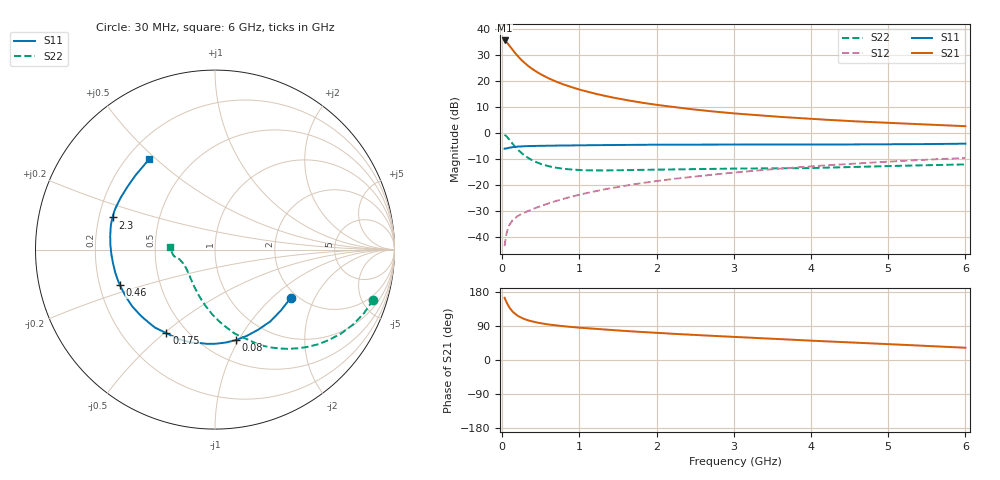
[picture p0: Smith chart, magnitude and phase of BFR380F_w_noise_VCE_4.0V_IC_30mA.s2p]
! Infineon Technologies  Discrete & RF Semiconductors
! BFR380F
! VCE =  4.0 V,  IC =  30 mA
! Common Emitter S-Parameters:  Nov 2015
# GHz  S  MA  R  50
!  f  S11  S21  S12  S22
! GHz  MAG  ANG  MAG  ANG  MAG  ANG  MAG  ANG
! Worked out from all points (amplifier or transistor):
!   206 points, 30 MHz to 6 GHz, reference 50 ohm
!   highest |S21| = 35.5 dB at 30 MHz (marker M1)
!   |S21| within 3 dB of that: start of sweep to 117.4 MHz
!   unconditionally stable (mu >= 1): 1.146 GHz to 4.93 GHz
!   at 200 MHz: K = 0.48, MSG = 30.7 dB, |S12| = -31.9 dB
!   at 1.56 GHz: K = 1.03, MAG = 15.6 dB, |S12| = -20.4 dB
!   at 6 GHz: K = 0.99, MSG = 6.1 dB, |S12| = -9.6 dB
!   lowest NFmin = 1.22 dB at 900 MHz
!   S11 on the Smith chart (normalised r, x): 30 MHz: 1.84, -1.32; 80 MHz: 0.71, -0.97; 175 MHz: 0.39, -0.51; 460 MHz: 0.29, -0.17; 2.3 GHz: 0.26, +0.14; 6 GHz: 0.29, +0.48
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0.03  0.5001 -32.6  59.83 164.1  0.0067 78.7  0.9253 -17.6
0.05  0.505 -52.4  56.7 154.3  0.0108 71.7  0.8761 -28.4
0.07  0.5122 -69.8  52.36 146.1  0.0141 66.4  0.8125 -38.1
0.08  0.5174 -77.1  50.24 142.8  0.0155 64.7  0.7804 -42.5
0.1  0.5245 -89.6  45.84 136.3  0.0178 60.8  0.7161 -50.2
0.13  0.5347 -104.3  40.01 128.7  0.0208 56.9  0.6293 -60.1
0.15  0.5383 -112.7  36.68 124.5  0.0222 55.2  0.5796 -65.6
0.175  0.5388 -120.2  33.18 120.9  0.0238 54.1  0.5275 -70.7
0.2  0.5484 -127.6  29.83 116.5  0.0254 53.2  0.4805 -76.8
0.26  0.554 -139.1  24.27 110.3  0.0283 53.1  0.3995 -86.8
0.3  0.5588 -145.3  21.37 106.8  0.0302 53.6  0.359 -92.8
0.36  0.5614 -151.8  18.18 103.2  0.033 54.9  0.3156 -100.0
0.46  0.5656 -159.5  14.47 98.4  0.0377 57.3  0.2679 -110.2
0.7  0.5725 -170.7  9.654 91.2  0.0496 62.1  0.2149 -127.9
1.04  0.5794 -179.5  6.567 84.7  0.0674 65.9  0.1934 -143.3
1.4  0.5868 174.0  4.896 79.2  0.0868 67.6  0.1913 -153.0
2.02  0.5965 165.9  3.438 71.5  0.1205 68.1  0.1981 -160.5
2.3  0.5983 162.6  3.043 68.3  0.1355 67.7  0.2013 -162.5
3.1  0.5997 154.9  2.318 60.1  0.1791 65.8  0.2073 -165.4
4.1  0.6 145.0  1.83 50.1  0.2338 61.9  0.2138 -166.6
5.1  0.607 135.7  1.541 41.0  0.2865 57.4  0.2335 -172.1
6  0.6238 125.9  1.351 32.4  0.3309 52.3  0.2489 177.3
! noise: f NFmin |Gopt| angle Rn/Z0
0.45  1.25  0.3  -178  0.08
0.9  1.22  0.33  -179  0.07
1.8  1.42  0.4  -168  0.08
1.9  1.5  0.41  -169  0.08
2.4  1.57  0.43  -159  0.1
3.5  2.16  0.5  -149  0.15
